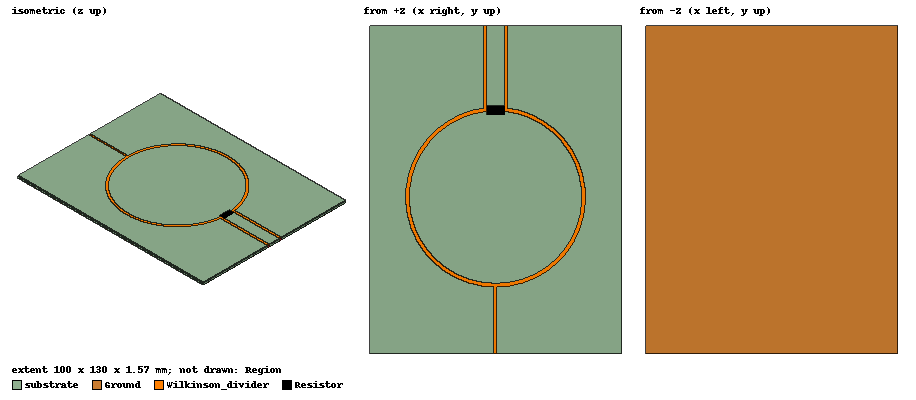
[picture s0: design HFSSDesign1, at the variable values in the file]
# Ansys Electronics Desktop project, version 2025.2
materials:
  vacuum: permittivity=1
  copper: permeability=0.999991 conductivity=58000000
  FR4_epoxy: permittivity=4.4 dielectric_loss_tangent=0.02
  air: permittivity=1.0006 permeability=1.0000004
  FR4_epoxy_KB6164: permittivity=4.6 dielectric_loss_tangent=0.02

design HFSSDesign1 (HFSS, HFSS Terminal Network, model units mm)
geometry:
  Ground [copper] = rectangle(corner=(-50mm, 60mm, 0mm), x_size=100mm, y_size=-130mm)
  substrate [FR4_epoxy_KB6164] = box(corner=(-50mm, 60mm, 0mm), size=(100mm, -130mm, 1.5mm))
  Left_half = polyline(z=1.5mm, xy in mm: (-3.5, 26) (-34.134725, -9.7523044) (7.7271523e-14, -42.179672), AngularArc from point 0 over 3 centre=(0mm, -8mm, 1.5mm) angle=174.12261deg plane=XY)
  point Point1 = (0mm, -8mm, 0mm)
  Polyline2 = polyline(z=1.5mm, xy in mm: (-3.5, 27.5) (-35.629062, -9.7521148) (1.8340884e-13, -43.672118), AngularArc from point 0 over 3 centre=(0mm, -8mm, 1.5mm) angle=174.36932deg plane=XY)
  Polyline3 = polyline((0mm, -42.179672mm, 1.5mm) (0mm, -43.672118mm, 1.5mm))
  Polyline4 = polyline((-3.5mm, 26mm, 1.5mm) (-3.5mm, 27.5mm, 1.5mm))
  Left_half.unite(Polyline2, Polyline3, Polyline4)
  Left_half.cover_lines()
  Wilkinson_divider [copper] = polyline(z=1.5mm, xy in mm: (-3.5, 26) (-34.134725, -9.7523044) (7.7271523e-14, -42.179672), AngularArc from point 0 over 3 centre=(0mm, -8mm, 1.5mm) angle=174.12261deg plane=XY)
  Polyline6 = polyline(z=1.5mm, xy in mm: (-3.5, 27.5) (-35.629062, -9.7521148) (1.8340884e-13, -43.672118), AngularArc from point 0 over 3 centre=(0mm, -8mm, 1.5mm) angle=174.36932deg plane=XY)
  Polyline7 = polyline((0mm, -42.179672mm, 1.5mm) (0mm, -43.672118mm, 1.5mm))
  Polyline8 = polyline((-3.5mm, 26mm, 1.5mm) (-3.5mm, 27.5mm, 1.5mm))
  Wilkinson_divider.unite(Polyline6, Polyline7, Polyline8)
  Wilkinson_divider.cover_lines()
  Wilkinson_divider.rotate(axis=Z, angle=180deg)
  Wilkinson_divider.rotate(axis=X, angle=180deg)
  Wilkinson_divider.move(0mm, 0.17211796mm, 3mm)
  Wilkinson_divider.move(0mm, -0.17211796mm, -5.1070259e-15mm)
  Resistor = rectangle(corner=(-3.5mm, 26mm, 1.5mm), x_size=7mm, y_size=3.5mm)
  Resistor.move(0mm, -1.125mm, 0mm)
  Output1 = rectangle(corner=(-3.5mm, 27.5mm, 1.5mm), x_size=-1.45mm, y_size=32.5mm)
  OUT1 = polyline(z=1.5mm, xy in mm: (-4.95, 27.5) (-4.93, 27.29) (-3.5, 27.5) (-4.95, 27.5), closed, covered)
  OUT1.unite(Output1)
  OUT2 = OUT1.duplicate_mirror(point=(0mm, 28.375mm, 1.5mm), normal=(1mm, 0mm, 0mm))
  [Wilkinson_divider, Left_half, OUT1, OUT2].thicken(0.035mm)
  Left_half.move(4.4408921e-16mm, 0mm, 0.035mm)
  INPUT = rectangle(corner=(-0.72435mm, -70mm, 1.5mm), x_size=1mm, y_size=26.376mm)
  INPUT.thicken(0.035mm)
  point Point2 = (-0.72435mm, -70mm, 1.5mm)
  Region [air] = region(absolute_offset=75mm on all sides)
  Wilkinson_divider.unite(INPUT, Left_half, OUT1, OUT2)
  Ground.thicken(0.035mm)
  Rectangle1 = rectangle(corner=(-0.72435mm, -70mm, 1.5mm), z_size=-1.4997523mm, x_size=1.0006631mm)
  Rectangle2 = rectangle(corner=(4.95mm, 60mm, 1.5mm), z_size=-1.499334mm, x_size=-1.4543995mm)
  Rectangle3 = rectangle(corner=(-3.5mm, 60mm, 1.5mm), z_size=-1.5002998mm, x_size=-1.4507632mm)
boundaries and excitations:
  LumpRLC1: Lumped RLC Objects=Resistor CurrentLine{(-3.5, 26.625, 1.5) -> (3.5, 26.625, 1.5)} RLC_Type=Serial Resistance=100ohm
  Rad1: Radiation Objects=Region
  1: Lumped Port Objects=Rectangle1 LumpedPortType=Modal Modes{Mode1{IntLine{(-0.22401846, -70, 0.00024767636) -> (-0.22401846, -70, 1.5)} CharImp=Zpi RenormImp=50ohm}} Impedance=50ohm
  2: Lumped Port Objects=Rectangle2 LumpedPortType=Modal Modes{Mode1{IntLine{(4.2228002, 60, 0.0006660372) -> (4.2228002, 60, 1.5)} CharImp=Zpi RenormImp=50ohm}} Impedance=50ohm
  3: Lumped Port Objects=Rectangle3 LumpedPortType=Modal Modes{Mode1{IntLine{(-4.2253816, 60, -0.00029983837) -> (-4.2253816, 60, 1.5)} CharImp=Zpi RenormImp=50ohm}} Impedance=50ohm
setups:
  Setup1: HfssDriven Frequency=450MHz MaxDeltaS=0.02 MaximumPasses=10 MinimumPasses=1 MinimumConvergedPasses=1 PercentRefinement=30 BasisOrder=1 PortAccuracy=2 DrivenSolverType="Direct Solver"
    sweep Sweep: 100MHz to 2GHz, 401 points; Type=Interpolating SaveFields InterpTolerance=0.5 InterpMaxSolns=250 PassivityErrorTolerance=0.0001
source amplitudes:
  1:1: 1V 0deg
  2:1, 3:1: 0V 0deg
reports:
  Terminal S Parameter Plot1: dB(St(1,1)), dB(St(2,2)), dB(St(3,3)), dB(St(2,1)), dB(St(3,1)) vs Freq on Setup1 : Sweep
